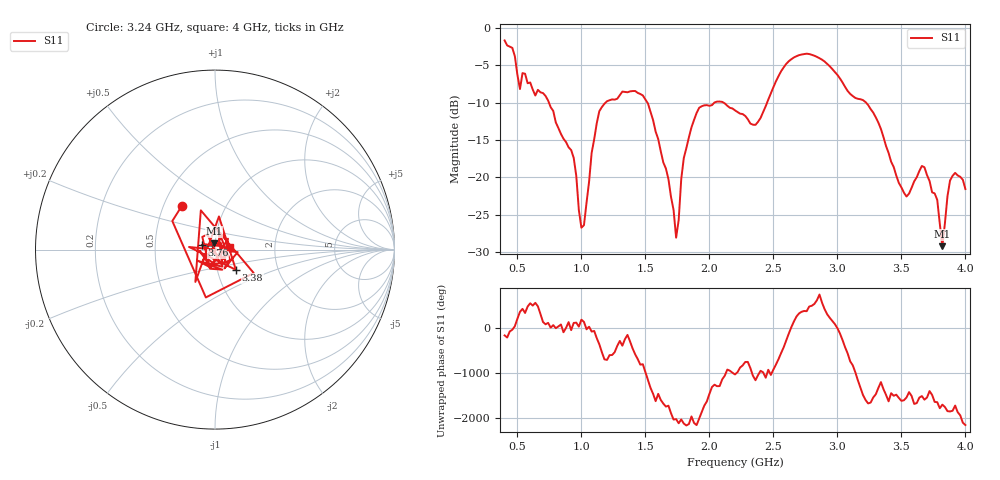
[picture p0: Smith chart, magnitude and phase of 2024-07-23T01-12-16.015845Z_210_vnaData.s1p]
!Created with skrf (http://scikit-rf.org).
# Hz S RI R 50.0
!freq ReS11 ImS11
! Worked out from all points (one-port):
!   181 points, 400 MHz to 4 GHz, reference 50 ohm
!   lowest |S11| = -29.2 dB at 3.82 GHz (marker M1), VSWR 1.07, Z = 49.3 + j3.36 ohm
!   |S11| at or under -10 dB: 746.4 MHz to 1.188 GHz (441.9 MHz wide, 45.7 % of centre); 1.516 GHz to 2.038 GHz (522.3 MHz wide, 29.4 % of centre); 3.224 GHz to end of sweep (the widest 3 of 4)
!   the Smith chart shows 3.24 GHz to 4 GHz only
!   S11 on the Smith chart (normalised r, x): 3.24 GHz: 0.62, +0.33; 3.38 GHz: 1.23, -0.28; 3.76 GHz: 0.86, +0.04; 4 GHz: 1.18, +0.03
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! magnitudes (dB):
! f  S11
! 400 MHz  -1.7
! 460 MHz  -2.6
! 520 MHz  -8.2
! 560 MHz  -6.1
! 720 MHz  -9.1
! 860 MHz  -14.8
! 940 MHz  -17.4
! 1 GHz  -26.8
! 1.14 GHz  -11.1
! 1.3 GHz  -9.0
! 1.52 GHz  -10.1
! 1.68 GHz  -20.2
! 1.74 GHz  -28.1
! 1.76 GHz  -25.7
! 1.8 GHz  -17.4
! 1.92 GHz  -10.7
! 2.2 GHz  -11.0
! 2.36 GHz  -13.0
! 2.66 GHz  -3.9
! 3.1 GHz  -8.8
! 3.24 GHz  -10.3
! 3.38 GHz  -15.8
! 3.56 GHz  -22.2
! 3.66 GHz  -18.5
! 3.76 GHz  -22.2
! 3.82 GHz  -29.2
! 3.88 GHz  -20.4
! 4 GHz  -21.6
